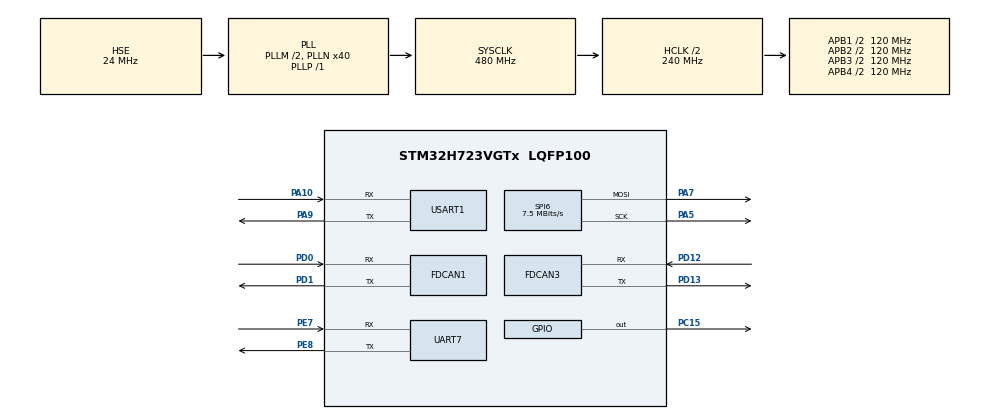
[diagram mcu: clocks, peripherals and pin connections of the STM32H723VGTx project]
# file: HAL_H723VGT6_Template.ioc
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Bdma.Request0=SPI6_TX
Bdma.RequestsNb=1
Bdma.SPI6_TX.0.Direction=DMA_MEMORY_TO_PERIPH
Bdma.SPI6_TX.0.EventEnable=DISABLE
Bdma.SPI6_TX.0.Instance=BDMA_Channel0
Bdma.SPI6_TX.0.MemDataAlignment=DMA_MDATAALIGN_BYTE
Bdma.SPI6_TX.0.MemInc=DMA_MINC_ENABLE
Bdma.SPI6_TX.0.Mode=DMA_NORMAL
Bdma.SPI6_TX.0.PeriphDataAlignment=DMA_PDATAALIGN_BYTE
Bdma.SPI6_TX.0.PeriphInc=DMA_PINC_DISABLE
Bdma.SPI6_TX.0.Polarity=HAL_DMAMUX_REQ_GEN_RISING
Bdma.SPI6_TX.0.Priority=DMA_PRIORITY_LOW
Bdma.SPI6_TX.0.RequestNumber=1
Bdma.SPI6_TX.0.SignalID=NONE
Bdma.SPI6_TX.0.SyncEnable=DISABLE
Bdma.SPI6_TX.0.SyncPolarity=HAL_DMAMUX_SYNC_NO_EVENT
Bdma.SPI6_TX.0.SyncRequestNumber=1
Bdma.SPI6_TX.0.SyncSignalID=NONE
CORTEX_M7.default_mode_Activation=1
Dma.Request0=USART1_RX
Dma.Request1=UART7_RX
Dma.UART7_RX.1.Direction=DMA_PERIPH_TO_MEMORY
Dma.UART7_RX.1.EventEnable=DISABLE
Dma.UART7_RX.1.FIFOMode=DMA_FIFOMODE_DISABLE
Dma.UART7_RX.1.Instance=DMA1_Stream1
Dma.UART7_RX.1.MemDataAlignment=DMA_MDATAALIGN_BYTE
Dma.UART7_RX.1.MemInc=DMA_MINC_ENABLE
Dma.UART7_RX.1.Mode=DMA_NORMAL
Dma.UART7_RX.1.PeriphDataAlignment=DMA_PDATAALIGN_BYTE
Dma.UART7_RX.1.PeriphInc=DMA_PINC_DISABLE
Dma.UART7_RX.1.Polarity=HAL_DMAMUX_REQ_GEN_RISING
Dma.UART7_RX.1.Priority=DMA_PRIORITY_LOW
Dma.UART7_RX.1.RequestNumber=1
Dma.UART7_RX.1.SignalID=NONE
Dma.UART7_RX.1.SyncEnable=DISABLE
Dma.UART7_RX.1.SyncPolarity=HAL_DMAMUX_SYNC_NO_EVENT
Dma.UART7_RX.1.SyncRequestNumber=1
Dma.UART7_RX.1.SyncSignalID=NONE
Dma.USART1_RX.0.Direction=DMA_PERIPH_TO_MEMORY
Dma.USART1_RX.0.EventEnable=DISABLE
Dma.USART1_RX.0.FIFOMode=DMA_FIFOMODE_DISABLE
Dma.USART1_RX.0.Instance=DMA1_Stream0
Dma.USART1_RX.0.MemDataAlignment=DMA_MDATAALIGN_BYTE
Dma.USART1_RX.0.MemInc=DMA_MINC_ENABLE
Dma.USART1_RX.0.Mode=DMA_NORMAL
Dma.USART1_RX.0.PeriphDataAlignment=DMA_PDATAALIGN_BYTE
Dma.USART1_RX.0.PeriphInc=DMA_PINC_DISABLE
Dma.USART1_RX.0.Polarity=HAL_DMAMUX_REQ_GEN_RISING
Dma.USART1_RX.0.Priority=DMA_PRIORITY_LOW
Dma.USART1_RX.0.RequestNumber=1
Dma.USART1_RX.0.SignalID=NONE
Dma.USART1_RX.0.SyncEnable=DISABLE
Dma.USART1_RX.0.SyncPolarity=HAL_DMAMUX_SYNC_NO_EVENT
Dma.USART1_RX.0.SyncRequestNumber=1
Dma.USART1_RX.0.SyncSignalID=NONE
FDCAN1.AutoRetransmission=ENABLE
FDCAN1.CalculateBaudRateNominal=1000000
FDCAN1.CalculateTimeBitNominal=1000
FDCAN1.CalculateTimeQuantumNominal=83.33333333333333
FDCAN1.NominalPrescaler=2
FDCAN1.NominalTimeSeg1=8
FDCAN1.NominalTimeSeg2=3
FDCAN1.RxFifo0ElmtsNbr=8
FDCAN1.StdFiltersNbr=1
FDCAN1.TxFifoQueueElmtsNbr=8
FDCAN3.AutoRetransmission=ENABLE
FDCAN3.CalculateBaudRateNominal=1000000
FDCAN3.CalculateTimeBitNominal=1000
FDCAN3.CalculateTimeQuantumNominal=83.33333333333333
FDCAN3.NominalPrescaler=2
FDCAN3.NominalTimeSeg1=8
FDCAN3.NominalTimeSeg2=3
FDCAN3.RxFifo0ElmtsNbr=8
FDCAN3.StdFiltersNbr=1
FDCAN3.TxFifoQueueElmtsNbr=8
Mcu.Family=STM32H7
Mcu.Name=STM32H723VGTx
Mcu.Package=LQFP100
NVIC.BDMA_Channel0_IRQn=true\:0\:0\:false\:false\:true\:false\:true\:true
NVIC.DMA1_Stream0_IRQn=true\:0\:0\:false\:false\:true\:false\:true\:true
NVIC.DMA1_Stream1_IRQn=true\:0\:0\:false\:false\:true\:false\:true\:true
NVIC.FDCAN1_IT0_IRQn=true\:1\:0\:true\:false\:true\:true\:true\:true
NVIC.FDCAN3_IT0_IRQn=true\:0\:0\:false\:false\:true\:true\:true\:true
NVIC.PriorityGroup=NVIC_PRIORITYGROUP_2
NVIC.SPI6_IRQn=true\:3\:3\:true\:false\:true\:false\:true\:true
NVIC.TIM4_IRQn=true\:0\:0\:false\:false\:true\:true\:true\:true
NVIC.UART7_IRQn=true\:2\:0\:true\:false\:true\:true\:true\:true
NVIC.USART1_IRQn=true\:2\:2\:true\:false\:true\:true\:true\:true
PA10.Mode=Asynchronous
PA10.Signal=USART1_RX
PA13(JTMS/SWDIO).Mode=Serial_Wire
PA13(JTMS/SWDIO).Signal=DEBUG_JTMS-SWDIO
PA14(JTCK/SWCLK).Mode=Serial_Wire
PA14(JTCK/SWCLK).Signal=DEBUG_JTCK-SWCLK
PA5.Mode=TX_Only_Simplex_Unidirect_Master
PA5.Signal=SPI6_SCK
PA7.Mode=TX_Only_Simplex_Unidirect_Master
PA7.Signal=SPI6_MOSI
PA9.Mode=Asynchronous
PA9.Signal=USART1_TX
PC15-OSC32_OUT.GPIO_PuPd=GPIO_PULLDOWN
PC15-OSC32_OUT.PinState=GPIO_PIN_RESET
PC15-OSC32_OUT.Signal=GPIO_Output
PD0.Mode=FDCAN_Activate
PD0.Signal=FDCAN1_RX
PD1.Mode=FDCAN_Activate
PD1.Signal=FDCAN1_TX
PD12.Mode=FDCAN_Activate
PD12.Signal=FDCAN3_RX
PD13.Mode=FDCAN_Activate
PD13.Signal=FDCAN3_TX
PE7.Mode=Asynchronous
PE7.Signal=UART7_RX
PE8.Mode=Asynchronous
PE8.Signal=UART7_TX
PH0-OSC_IN.Mode=HSE-External-Oscillator
PH0-OSC_IN.Signal=RCC_OSC_IN
PH1-OSC_OUT.Mode=HSE-External-Oscillator
PH1-OSC_OUT.Signal=RCC_OSC_OUT
ProjectManager.HeapSize=0x200
ProjectManager.StackSize=0x400
ProjectManager.TargetToolchain=MDK-ARM V5.32
RCC.ADCFreq_Value=48375000
RCC.APB1Freq_Value=120000000
RCC.APB2Freq_Value=120000000
RCC.APB3Freq_Value=120000000
RCC.APB4Freq_Value=120000000
RCC.CortexFreq_Value=480000000
RCC.D1PPRE=RCC_APB3_DIV2
RCC.D2PPRE1=RCC_APB1_DIV2
RCC.D2PPRE2=RCC_APB2_DIV2
RCC.D3PPRE=RCC_APB4_DIV2
RCC.DIVM1=2
RCC.DIVN1=40
RCC.DIVP1=1
RCC.FDCANCLockSelection=RCC_FDCANCLKSOURCE_HSE
RCC.HCLKFreq_Value=240000000
RCC.HPRE=RCC_HCLK_DIV2
RCC.HSE_VALUE=24000000
RCC.PLLFRACN=0
RCC.PLLSourceVirtual=RCC_PLLSOURCE_HSE
RCC.SYSCLKFreq_VALUE=480000000
RCC.SYSCLKSource=RCC_SYSCLKSOURCE_PLLCLK
RCC.USBFreq_Value=240000000
SPI6.BaudRatePrescaler=SPI_BAUDRATEPRESCALER_16
SPI6.CLKPhase=SPI_PHASE_2EDGE
SPI6.CalculateBaudRate=7.5 MBits/s
SPI6.DataSize=SPI_DATASIZE_8BIT
SPI6.Direction=SPI_DIRECTION_2LINES_TXONLY
SPI6.Mode=SPI_MODE_MASTER
SPI6.NSSPMode=SPI_NSS_PULSE_DISABLE
SPI6.VirtualType=VM_MASTER
TIM4.AutoReloadPreload=TIM_AUTORELOAD_PRELOAD_ENABLE
TIM4.Period=999
TIM4.Prescaler=239
USART1.VirtualMode-Asynchronous=VM_ASYNC
VP_MEMORYMAP_VS_MEMORYMAP.Mode=CurAppReg
VP_TIM4_VS_ClockSourceINT.Mode=Internal
board=custom

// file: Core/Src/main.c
/* USER CODE BEGIN Header */
/**
  ******************************************************************************
  * @file           : main.c
  * @brief          : Main program body
  ******************************************************************************
  * @attention
  *
  * Copyright (c) 2026 STMicroelectronics.
  * All rights reserved.
  *
  * This software is licensed under terms that can be found in the LICENSE file
  * in the root directory of this software component.
  * If no LICENSE file comes with this software, it is provided AS-IS.
  *
  ******************************************************************************
  */
/* USER CODE END Header */
#include "main.h"

/* USER CODE BEGIN Includes */
#include <stdlib.h>
#include <stdio.h>
#include "2812LED.h"
#include "CAN.h"
#include "Time.h"
#include "DM_BLDC_Motor.h"
#include "UART_Data.h"
#include "FourMotor_Coordination.h"
#include "DM_IMU_L1_V1.0.h"
#include "Chassis.h"
#include "Attitude.h"
#include "Nav.h"
#include "Debug.h"
#include "Link.h"

/* USER CODE END Includes */

FDCAN_HandleTypeDef hfdcan1;
FDCAN_HandleTypeDef hfdcan3;

SPI_HandleTypeDef hspi6;
DMA_HandleTypeDef hdma_spi6_tx;

TIM_HandleTypeDef htim4;

UART_HandleTypeDef huart7;
UART_HandleTypeDef huart1;
DMA_HandleTypeDef hdma_uart7_rx;
DMA_HandleTypeDef hdma_usart1_rx;

void SystemClock_Config(void);
static void MPU_Config(void);
static void MX_GPIO_Init(void);
static void MX_BDMA_Init(void);
static void MX_DMA_Init(void);
static void MX_SPI6_Init(void);
static void MX_FDCAN1_Init(void);
static void MX_USART1_UART_Init(void);
static void MX_TIM4_Init(void);
static void MX_FDCAN3_Init(void);
static void MX_UART7_Init(void);

int main(void)
{

  /* MPU Configuration--------------------------------------------------------*/
  MPU_Config();

  /* MCU Configuration--------------------------------------------------------*/

  /* Reset of all peripherals, Initializes the Flash interface and the Systick. */
  HAL_Init();

  /* Configure the system clock */
  SystemClock_Config();

  /* Initialize all configured peripherals */
  MX_GPIO_Init();
  MX_BDMA_Init();
  MX_DMA_Init();
  MX_SPI6_Init();
  MX_FDCAN1_Init();
  MX_USART1_UART_Init();
  MX_TIM4_Init();
  MX_FDCAN3_Init();
  MX_UART7_Init();
  /* USER CODE BEGIN 2 */
	//电机初始化
	DM_CAN_Motor_Init();
	DM_IMU_Init();

	//底盘 / 姿态 / 导航 / 调试 初始化
	Chassis_Init();
	Attitude_Init();
	Nav_Init();
	Debug_Init();
	UART_Init();

	//外部VCC供电
	HAL_GPIO_WritePin(GPIOC,GPIO_PIN_15,GPIO_PIN_SET);

	//等 IMU 上电就绪: 实测上电后约 300ms 才开始应答轮询, 过早采样会白采
	HAL_Delay(350);

	//静止标定陀螺 z 轴零偏 (这 400ms 车必须完全不动)
	Attitude_Calibrate(400);

	//开 1ms 节拍, 之后 5ms 控制自动跑
	Time_Init();

	//电机失能
	DM_CAN_Motor_SetEnable(DM_Motor_4310P_ID,DM_Mototr_Disable);
	DM_CAN_Motor_SetEnable(DM_Motor_4310_ID,DM_Mototr_Disable);
	DM_CAN_Motor_SetEnable(DM_Motor_4310P_Next_ID,DM_Mototr_Disable);
	DM_CAN_Motor_SetEnable(DM_Motor_4310_Next_ID,DM_Mototr_Disable);
	DM_CAN_Motor_SetEnable(DM_Motor_4340_Yaw_ID,DM_Mototr_Disable);
	HAL_Delay(1000);
	//电机使能
	DM_CAN_Motor_SetEnable(DM_Motor_4310P_ID,DM_Mototr_Enable);
	DM_CAN_Motor_SetEnable(DM_Motor_4310_ID,DM_Mototr_Enable);
	DM_CAN_Motor_SetEnable(DM_Motor_4310P_Next_ID,DM_Mototr_Enable);
	DM_CAN_Motor_SetEnable(DM_Motor_4310_Next_ID,DM_Mototr_Enable);
	/* 4340 yaw 改由板间 <<E,1>> 使能, 上电保持失能 (Link.c) */

	//位姿置到下方启停区中心 (row45,col45), 上电时车头须朝地图上方(+y)
	/* 用 (44,44)=(2225,175): (45,45)=(2275,125) 车体会压出场地边界 12.5mm,
	   且该格在「离边界>=3格」的禁行区, A* 视线检查会失败 -> 首段被折成 45 度斜线 */
	Nav_ResetPose(44, 44);

	/* 板间链路放到所有阻塞初始化之后: 避免上电 1.4s 内 UART7 环形缓冲被 Y 帧冲爆 */
	Link_Init();

	printf("\r\n# 工创小车底盘就绪, 输入 ? 看命令\r\n");
  /* USER CODE END 2 */

  /* Infinite loop */
  /* USER CODE BEGIN WHILE */
	while (1)
	{
		UART_RxCheck();       /* 接收自愈: 防止 RxState 卡在 READY 收不到命令 */
		Debug_Task();
		Link_Poll();
		Nav_RoutePoll();      /* 内置路线: 到点后自动推进下一点 */
    /* USER CODE END WHILE */

  }
}

void SystemClock_Config(void)
{
  RCC_OscInitTypeDef RCC_OscInitStruct = {0};
  RCC_ClkInitTypeDef RCC_ClkInitStruct = {0};

  /** Supply configuration update enable
  */
  HAL_PWREx_ConfigSupply(PWR_LDO_SUPPLY);

  /** Configure the main internal regulator output voltage
  */
  __HAL_PWR_VOLTAGESCALING_CONFIG(PWR_REGULATOR_VOLTAGE_SCALE0);

  while(!__HAL_PWR_GET_FLAG(PWR_FLAG_VOSRDY)) {}

  /** Initializes the RCC Oscillators according to the specified parameters
  * in the RCC_OscInitTypeDef structure.
  */
  RCC_OscInitStruct.OscillatorType = RCC_OSCILLATORTYPE_HSE;
  RCC_OscInitStruct.HSEState = RCC_HSE_ON;
  RCC_OscInitStruct.PLL.PLLState = RCC_PLL_ON;
  RCC_OscInitStruct.PLL.PLLSource = RCC_PLLSOURCE_HSE;
  RCC_OscInitStruct.PLL.PLLM = 2;
  RCC_OscInitStruct.PLL.PLLN = 40;
  RCC_OscInitStruct.PLL.PLLP = 1;
  RCC_OscInitStruct.PLL.PLLQ = 2;
  RCC_OscInitStruct.PLL.PLLR = 2;
  RCC_OscInitStruct.PLL.PLLRGE = RCC_PLL1VCIRANGE_3;
  RCC_OscInitStruct.PLL.PLLVCOSEL = RCC_PLL1VCOWIDE;
  RCC_OscInitStruct.PLL.PLLFRACN = 0;
  if (HAL_RCC_OscConfig(&RCC_OscInitStruct) != HAL_OK)
  {
    Error_Handler();
  }

  /** Initializes the CPU, AHB and APB buses clocks
  */
  RCC_ClkInitStruct.ClockType = RCC_CLOCKTYPE_HCLK|RCC_CLOCKTYPE_SYSCLK
                              |RCC_CLOCKTYPE_PCLK1|RCC_CLOCKTYPE_PCLK2
                              |RCC_CLOCKTYPE_D3PCLK1|RCC_CLOCKTYPE_D1PCLK1;
  RCC_ClkInitStruct.SYSCLKSource = RCC_SYSCLKSOURCE_PLLCLK;
  RCC_ClkInitStruct.SYSCLKDivider = RCC_SYSCLK_DIV1;
  RCC_ClkInitStruct.AHBCLKDivider = RCC_HCLK_DIV2;
  RCC_ClkInitStruct.APB3CLKDivider = RCC_APB3_DIV2;
  RCC_ClkInitStruct.APB1CLKDivider = RCC_APB1_DIV2;
  RCC_ClkInitStruct.APB2CLKDivider = RCC_APB2_DIV2;
  RCC_ClkInitStruct.APB4CLKDivider = RCC_APB4_DIV2;

  if (HAL_RCC_ClockConfig(&RCC_ClkInitStruct, FLASH_LATENCY_3) != HAL_OK)
  {
    Error_Handler();
  }
}

static void MX_FDCAN1_Init(void)
{

  hfdcan1.Instance = FDCAN1;
  hfdcan1.Init.FrameFormat = FDCAN_FRAME_CLASSIC;
  hfdcan1.Init.Mode = FDCAN_MODE_NORMAL;
  hfdcan1.Init.AutoRetransmission = ENABLE;
  hfdcan1.Init.TransmitPause = DISABLE;
  hfdcan1.Init.ProtocolException = DISABLE;
  hfdcan1.Init.NominalPrescaler = 2;
  hfdcan1.Init.NominalSyncJumpWidth = 1;
  hfdcan1.Init.NominalTimeSeg1 = 8;
  hfdcan1.Init.NominalTimeSeg2 = 3;
  hfdcan1.Init.DataPrescaler = 1;
  hfdcan1.Init.DataSyncJumpWidth = 1;
  hfdcan1.Init.DataTimeSeg1 = 1;
  hfdcan1.Init.DataTimeSeg2 = 1;
  hfdcan1.Init.MessageRAMOffset = 0;
  hfdcan1.Init.StdFiltersNbr = 1;
  hfdcan1.Init.ExtFiltersNbr = 0;
  hfdcan1.Init.RxFifo0ElmtsNbr = 8;
  hfdcan1.Init.RxFifo0ElmtSize = FDCAN_DATA_BYTES_8;
  hfdcan1.Init.RxFifo1ElmtsNbr = 0;
  hfdcan1.Init.RxFifo1ElmtSize = FDCAN_DATA_BYTES_8;
  hfdcan1.Init.RxBuffersNbr = 0;
  hfdcan1.Init.RxBufferSize = FDCAN_DATA_BYTES_8;
  hfdcan1.Init.TxEventsNbr = 0;
  hfdcan1.Init.TxBuffersNbr = 0;
  hfdcan1.Init.TxFifoQueueElmtsNbr = 8;
  hfdcan1.Init.TxFifoQueueMode = FDCAN_TX_FIFO_OPERATION;
  hfdcan1.Init.TxElmtSize = FDCAN_DATA_BYTES_8;
  if (HAL_FDCAN_Init(&hfdcan1) != HAL_OK)
  {
    Error_Handler();
  }
  /* USER CODE BEGIN FDCAN1_Init 2 */
	//过滤器配置
	HAL_FDCAN_ConfigGlobalFilter(&hfdcan1, FDCAN_ACCEPT_IN_RX_FIFO0, FDCAN_ACCEPT_IN_RX_FIFO0, FDCAN_REJECT, FDCAN_REJECT);
  //启动FDCAN外设
	HAL_FDCAN_Start(&hfdcan1);
	//开启中断接收
  HAL_FDCAN_ActivateNotification(&hfdcan1, FDCAN_IT_RX_FIFO0_NEW_MESSAGE, 0);

  /* USER CODE END FDCAN1_Init 2 */

}

static void MX_FDCAN3_Init(void)
{

  hfdcan3.Instance = FDCAN3;
  hfdcan3.Init.FrameFormat = FDCAN_FRAME_CLASSIC;
  hfdcan3.Init.Mode = FDCAN_MODE_NORMAL;
  hfdcan3.Init.AutoRetransmission = ENABLE;
  hfdcan3.Init.TransmitPause = DISABLE;
  hfdcan3.Init.ProtocolException = DISABLE;
  hfdcan3.Init.NominalPrescaler = 2;
  hfdcan3.Init.NominalSyncJumpWidth = 1;
  hfdcan3.Init.NominalTimeSeg1 = 8;
  hfdcan3.Init.NominalTimeSeg2 = 3;
  hfdcan3.Init.DataPrescaler = 1;
  hfdcan3.Init.DataSyncJumpWidth = 1;
  hfdcan3.Init.DataTimeSeg1 = 1;
  hfdcan3.Init.DataTimeSeg2 = 1;
  hfdcan3.Init.MessageRAMOffset = 0;
  hfdcan3.Init.StdFiltersNbr = 1;
  hfdcan3.Init.ExtFiltersNbr = 0;
  hfdcan3.Init.RxFifo0ElmtsNbr = 8;
  hfdcan3.Init.RxFifo0ElmtSize = FDCAN_DATA_BYTES_8;
  hfdcan3.Init.RxFifo1ElmtsNbr = 0;
  hfdcan3.Init.RxFifo1ElmtSize = FDCAN_DATA_BYTES_8;
  hfdcan3.Init.RxBuffersNbr = 0;
  hfdcan3.Init.RxBufferSize = FDCAN_DATA_BYTES_8;
  hfdcan3.Init.TxEventsNbr = 0;
  hfdcan3.Init.TxBuffersNbr = 0;
  hfdcan3.Init.TxFifoQueueElmtsNbr = 8;
  hfdcan3.Init.TxFifoQueueMode = FDCAN_TX_FIFO_OPERATION;
  hfdcan3.Init.TxElmtSize = FDCAN_DATA_BYTES_8;
  if (HAL_FDCAN_Init(&hfdcan3) != HAL_OK)
  {
    Error_Handler();
  }
  /* USER CODE BEGIN FDCAN3_Init 2 */
	//过滤器配置
	HAL_FDCAN_ConfigGlobalFilter(&hfdcan3, FDCAN_ACCEPT_IN_RX_FIFO0, FDCAN_ACCEPT_IN_RX_FIFO0, FDCAN_REJECT, FDCAN_REJECT);
  //启动FDCAN外设
	HAL_FDCAN_Start(&hfdcan3);
	//开启中断接收
  HAL_FDCAN_ActivateNotification(&hfdcan3, FDCAN_IT_RX_FIFO0_NEW_MESSAGE, 0);

  /* USER CODE END FDCAN3_Init 2 */

}

static void MX_SPI6_Init(void)
{

  /* SPI6 parameter configuration*/
  hspi6.Instance = SPI6;
  hspi6.Init.Mode = SPI_MODE_MASTER;
  hspi6.Init.Direction = SPI_DIRECTION_2LINES_TXONLY;
  hspi6.Init.DataSize = SPI_DATASIZE_8BIT;
  hspi6.Init.CLKPolarity = SPI_POLARITY_LOW;
  hspi6.Init.CLKPhase = SPI_PHASE_2EDGE;
  hspi6.Init.NSS = SPI_NSS_SOFT;
  hspi6.Init.BaudRatePrescaler = SPI_BAUDRATEPRESCALER_16;
  hspi6.Init.FirstBit = SPI_FIRSTBIT_MSB;
  hspi6.Init.TIMode = SPI_TIMODE_DISABLE;
  hspi6.Init.CRCCalculation = SPI_CRCCALCULATION_DISABLE;
  hspi6.Init.CRCPolynomial = 0x0;
  hspi6.Init.NSSPMode = SPI_NSS_PULSE_DISABLE;
  hspi6.Init.NSSPolarity = SPI_NSS_POLARITY_LOW;
  hspi6.Init.FifoThreshold = SPI_FIFO_THRESHOLD_01DATA;
  hspi6.Init.TxCRCInitializationPattern = SPI_CRC_INITIALIZATION_ALL_ZERO_PATTERN;
  hspi6.Init.RxCRCInitializationPattern = SPI_CRC_INITIALIZATION_ALL_ZERO_PATTERN;
  hspi6.Init.MasterSSIdleness = SPI_MASTER_SS_IDLENESS_00CYCLE;
  hspi6.Init.MasterInterDataIdleness = SPI_MASTER_INTERDATA_IDLENESS_00CYCLE;
  hspi6.Init.MasterReceiverAutoSusp = SPI_MASTER_RX_AUTOSUSP_DISABLE;
  hspi6.Init.MasterKeepIOState = SPI_MASTER_KEEP_IO_STATE_DISABLE;
  hspi6.Init.IOSwap = SPI_IO_SWAP_DISABLE;
  if (HAL_SPI_Init(&hspi6) != HAL_OK)
  {
    Error_Handler();
  }

}

static void MX_TIM4_Init(void)
{

  TIM_ClockConfigTypeDef sClockSourceConfig = {0};
  TIM_MasterConfigTypeDef sMasterConfig = {0};

  htim4.Instance = TIM4;
  htim4.Init.Prescaler = 239;
  htim4.Init.CounterMode = TIM_COUNTERMODE_UP;
  htim4.Init.Period = 999;
  htim4.Init.ClockDivision = TIM_CLOCKDIVISION_DIV1;
  htim4.Init.AutoReloadPreload = TIM_AUTORELOAD_PRELOAD_ENABLE;
  if (HAL_TIM_Base_Init(&htim4) != HAL_OK)
  {
    Error_Handler();
  }
  sClockSourceConfig.ClockSource = TIM_CLOCKSOURCE_INTERNAL;
  if (HAL_TIM_ConfigClockSource(&htim4, &sClockSourceConfig) != HAL_OK)
  {
    Error_Handler();
  }
  sMasterConfig.MasterOutputTrigger = TIM_TRGO_RESET;
  sMasterConfig.MasterSlaveMode = TIM_MASTERSLAVEMODE_DISABLE;
  if (HAL_TIMEx_MasterConfigSynchronization(&htim4, &sMasterConfig) != HAL_OK)
  {
    Error_Handler();
  }

}

static void MX_UART7_Init(void)
{

  huart7.Instance = UART7;
  huart7.Init.BaudRate = 115200;
  huart7.Init.WordLength = UART_WORDLENGTH_8B;
  huart7.Init.StopBits = UART_STOPBITS_1;
  huart7.Init.Parity = UART_PARITY_NONE;
  huart7.Init.Mode = UART_MODE_TX_RX;
  huart7.Init.HwFlowCtl = UART_HWCONTROL_NONE;
  huart7.Init.OverSampling = UART_OVERSAMPLING_16;
  huart7.Init.OneBitSampling = UART_ONE_BIT_SAMPLE_DISABLE;
  huart7.Init.ClockPrescaler = UART_PRESCALER_DIV1;
  huart7.AdvancedInit.AdvFeatureInit = UART_ADVFEATURE_NO_INIT;
  if (HAL_UART_Init(&huart7) != HAL_OK)
  {
    Error_Handler();
  }
  if (HAL_UARTEx_SetTxFifoThreshold(&huart7, UART_TXFIFO_THRESHOLD_1_8) != HAL_OK)
  {
    Error_Handler();
  }
  if (HAL_UARTEx_SetRxFifoThreshold(&huart7, UART_RXFIFO_THRESHOLD_1_8) != HAL_OK)
  {
    Error_Handler();
  }
  if (HAL_UARTEx_DisableFifoMode(&huart7) != HAL_OK)
  {
    Error_Handler();
  }

}

static void MX_USART1_UART_Init(void)
{

  huart1.Instance = USART1;
  huart1.Init.BaudRate = 115200;
  huart1.Init.WordLength = UART_WORDLENGTH_8B;
  huart1.Init.StopBits = UART_STOPBITS_1;
  huart1.Init.Parity = UART_PARITY_NONE;
  huart1.Init.Mode = UART_MODE_TX_RX;
  huart1.Init.HwFlowCtl = UART_HWCONTROL_NONE;
  huart1.Init.OverSampling = UART_OVERSAMPLING_16;
  huart1.Init.OneBitSampling = UART_ONE_BIT_SAMPLE_DISABLE;
  huart1.Init.ClockPrescaler = UART_PRESCALER_DIV1;
  huart1.AdvancedInit.AdvFeatureInit = UART_ADVFEATURE_NO_INIT;
  if (HAL_UART_Init(&huart1) != HAL_OK)
  {
    Error_Handler();
  }
  if (HAL_UARTEx_SetTxFifoThreshold(&huart1, UART_TXFIFO_THRESHOLD_1_8) != HAL_OK)
  {
    Error_Handler();
  }
  if (HAL_UARTEx_SetRxFifoThreshold(&huart1, UART_RXFIFO_THRESHOLD_1_8) != HAL_OK)
  {
    Error_Handler();
  }
  if (HAL_UARTEx_DisableFifoMode(&huart1) != HAL_OK)
  {
    Error_Handler();
  }

}

static void MX_BDMA_Init(void)
{

  /* DMA controller clock enable */
  __HAL_RCC_BDMA_CLK_ENABLE();

  /* DMA interrupt init */
  /* BDMA_Channel0_IRQn interrupt configuration */
  HAL_NVIC_SetPriority(BDMA_Channel0_IRQn, 0, 0);
  HAL_NVIC_EnableIRQ(BDMA_Channel0_IRQn);

}

static void MX_DMA_Init(void)
{

  /* DMA controller clock enable */
  __HAL_RCC_DMA1_CLK_ENABLE();

  /* DMA interrupt init */
  /* DMA1_Stream0_IRQn interrupt configuration */
  HAL_NVIC_SetPriority(DMA1_Stream0_IRQn, 0, 0);
  HAL_NVIC_EnableIRQ(DMA1_Stream0_IRQn);
  /* DMA1_Stream1_IRQn interrupt configuration */
  HAL_NVIC_SetPriority(DMA1_Stream1_IRQn, 0, 0);
  HAL_NVIC_EnableIRQ(DMA1_Stream1_IRQn);

}

static void MX_GPIO_Init(void)
{
  GPIO_InitTypeDef GPIO_InitStruct = {0};

  /* GPIO Ports Clock Enable */
  __HAL_RCC_GPIOC_CLK_ENABLE();
  __HAL_RCC_GPIOH_CLK_ENABLE();
  __HAL_RCC_GPIOA_CLK_ENABLE();
  __HAL_RCC_GPIOE_CLK_ENABLE();
  __HAL_RCC_GPIOD_CLK_ENABLE();

  /*Configure GPIO pin Output Level */
  HAL_GPIO_WritePin(GPIOC, GPIO_PIN_15, GPIO_PIN_RESET);

  /*Configure GPIO pin : PC15 */
  GPIO_InitStruct.Pin = GPIO_PIN_15;
  GPIO_InitStruct.Mode = GPIO_MODE_OUTPUT_PP;
  GPIO_InitStruct.Pull = GPIO_PULLDOWN;
  GPIO_InitStruct.Speed = GPIO_SPEED_FREQ_LOW;
  HAL_GPIO_Init(GPIOC, &GPIO_InitStruct);

}

 /* MPU Configuration */

void MPU_Config(void)
{
  MPU_Region_InitTypeDef MPU_InitStruct = {0};

  /* Disables the MPU */
  HAL_MPU_Disable();

  /** Initializes and configures the Region and the memory to be protected
  */
  MPU_InitStruct.Enable = MPU_REGION_ENABLE;
  MPU_InitStruct.Number = MPU_REGION_NUMBER0;
  MPU_InitStruct.BaseAddress = 0x0;
  MPU_InitStruct.Size = MPU_REGION_SIZE_4GB;
  MPU_InitStruct.SubRegionDisable = 0x87;
  MPU_InitStruct.TypeExtField = MPU_TEX_LEVEL0;
  MPU_InitStruct.AccessPermission = MPU_REGION_NO_ACCESS;
  MPU_InitStruct.DisableExec = MPU_INSTRUCTION_ACCESS_DISABLE;
  MPU_InitStruct.IsShareable = MPU_ACCESS_SHAREABLE;
  MPU_InitStruct.IsCacheable = MPU_ACCESS_NOT_CACHEABLE;
  MPU_InitStruct.IsBufferable = MPU_ACCESS_NOT_BUFFERABLE;

  HAL_MPU_ConfigRegion(&MPU_InitStruct);
  /* Enables the MPU */
  HAL_MPU_Enable(MPU_PRIVILEGED_DEFAULT);

}

void Error_Handler(void)
{
  __disable_irq();
  while (1)
  {
  }
}
